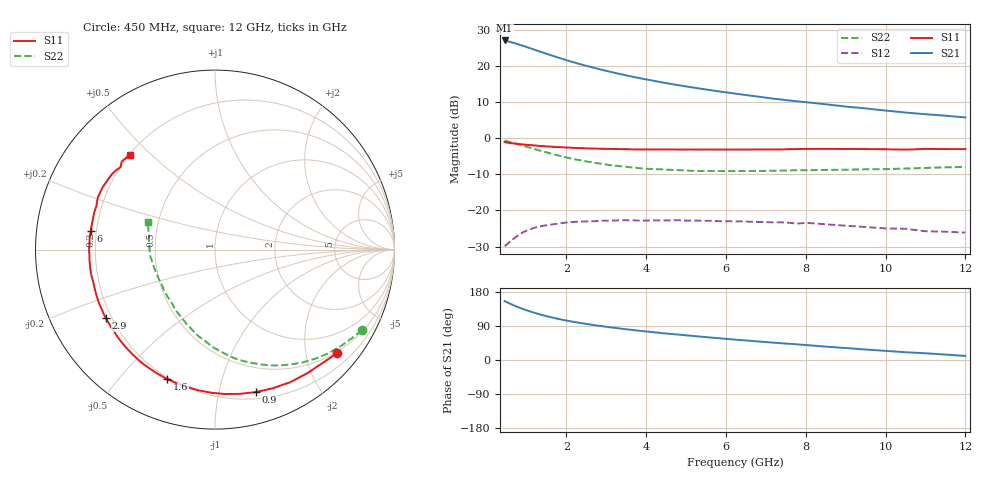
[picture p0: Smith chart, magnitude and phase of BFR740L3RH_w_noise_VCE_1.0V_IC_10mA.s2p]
! (c) 2012  Infineon Technologies AG, Munich
! Infineon Technologies  Discrete & RF Semiconductors
! BFR740L3RH
! VCE =  1.0 V,  IC =  10 mA
! Common Emitter S-Parameters:  May 2012
# GHz  S  MA  R  50
!  f  S11  S21  S12  S22
! GHz  MAG  ANG  MAG  ANG  MAG  ANG  MAG  ANG
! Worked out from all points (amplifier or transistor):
!   85 points, 450 MHz to 12 GHz, reference 50 ohm
!   highest |S21| = 27.2 dB at 450 MHz (marker M1)
!   |S21| within 3 dB of that: start of sweep to 1.314 GHz
!   unconditionally stable (mu >= 1): 8.246 GHz to end of sweep
!   at 1.8 GHz: K = 0.19, MSG = 23.0 dB, |S12| = -23.6 dB
!   at 4.6 GHz: K = 0.51, MSG = 18.9 dB, |S12| = -22.7 dB
!   at 12 GHz: K = 2.15, MAG = 9.9 dB, |S12| = -26.1 dB
!   lowest NFmin = 0.59 dB at 450 MHz
!   S11 on the Smith chart (normalised r, x): 450 MHz: 0.47, -2.64; 900 MHz: 0.26, -1.29; 1.6 GHz: 0.19, -0.68; 2.9 GHz: 0.18, -0.28; 6 GHz: 0.18, +0.07; 12 GHz: 0.20, +0.43
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0.45  0.8903 -40.4  22.83 155.5  0.032 70.9  0.9332 -28.8
0.6  0.8605 -52.7  21.71 147.9  0.0376 61.3  0.8856 -37.1
0.7  0.8495 -60.3  20.93 143.3  0.0417 56.6  0.8562 -42.4
0.8  0.8372 -67.4  20.1 139.0  0.0455 52.4  0.8261 -47.4
0.9  0.8257 -74.0  19.29 135.0  0.0495 49.4  0.7956 -52.2
1.1  0.8065 -86.1  17.73 127.8  0.055 43.4  0.7391 -60.8
1.3  0.7893 -96.8  16.26 121.4  0.0596 38.6  0.6858 -68.7
1.4  0.7813 -101.6  15.57 118.4  0.0611 36.4  0.6618 -72.3
1.6  0.7692 -110.2  14.32 113.2  0.0637 32.0  0.619 -79.2
1.8  0.7566 -118.2  13.16 108.3  0.0659 28.7  0.5786 -85.2
2  0.7481 -125.0  12.17 104.0  0.0681 24.9  0.5449 -90.9
2.4  0.7311 -136.5  10.49 96.8  0.0703 20.4  0.491 -100.8
2.9  0.7183 -147.9  8.917 89.1  0.0723 15.9  0.4425 -111.2
3.5  0.7075 -159.1  7.488 81.1  0.0733 11.1  0.4038 -122.6
4.3  0.703 -170.2  6.12 72.0  0.0729 7.1  0.3734 -134.4
5.2  0.701 178.9  5.051 63.1  0.0725 3.0  0.3547 -146.7
6  0.6997 171.3  4.352 55.8  0.0708 0.1  0.3512 -156.0
6.3  0.7001 168.5  4.129 53.1  0.0706 -0.5  0.352 -159.1
7.2  0.7037 161.2  3.553 45.6  0.0684 -4.0  0.3562 -168.2
8.5  0.7159 150.9  2.972 35.3  0.0644 -7.8  0.3652 179.4
10.5  0.6981 138.9  2.286 20.5  0.0558 -8.1  0.3818 165.9
12  0.7107 131.8  1.954 10.8  0.0494 -0.2  0.4023 157.7
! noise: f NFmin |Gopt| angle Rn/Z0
0.45  0.59  0.25  4  0.12
0.9  0.6  0.25  15  0.12
1.5  0.61  0.26  33  0.1
1.9  0.63  0.27  43  0.11
2.4  0.65  0.3  52  0.1
3.5  0.71  0.29  72  0.1
5.5  0.86  0.31  103  0.09
8  1.06  0.33  142  0.08
10  1.24  0.35  168  0.07
12  1.41  0.39  -158  0.07
